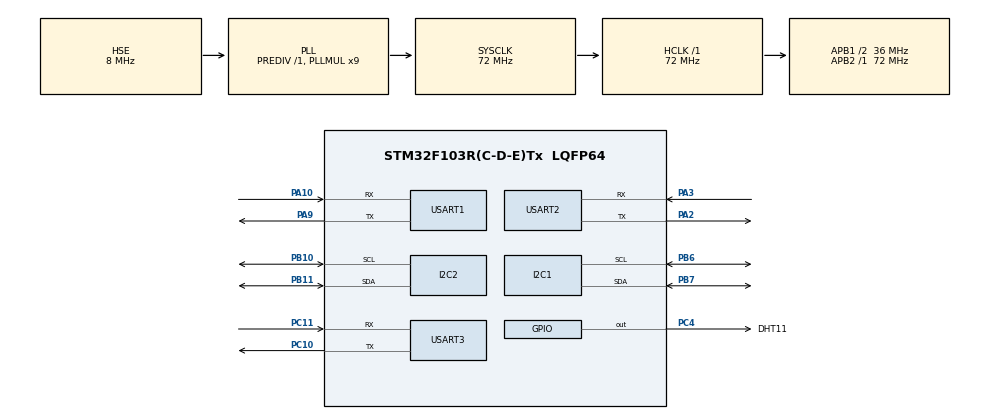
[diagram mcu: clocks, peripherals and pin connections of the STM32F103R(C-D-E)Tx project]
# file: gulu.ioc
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Mcu.Family=STM32F1
Mcu.Name=STM32F103R(C-D-E)Tx
Mcu.Package=LQFP64
NVIC.PriorityGroup=NVIC_PRIORITYGROUP_4
NVIC.USART1_IRQn=true\:0\:0\:false\:false\:true\:true\:true
NVIC.USART2_IRQn=true\:0\:0\:false\:false\:true\:true\:true
NVIC.USART3_IRQn=true\:0\:0\:false\:false\:true\:true\:true
PA10.Mode=Asynchronous
PA10.Signal=USART1_RX
PA13.Mode=Serial_Wire
PA13.Signal=SYS_JTMS-SWDIO
PA14.Mode=Serial_Wire
PA14.Signal=SYS_JTCK-SWCLK
PA2.Mode=Asynchronous
PA2.Signal=USART2_TX
PA3.Mode=Asynchronous
PA3.Signal=USART2_RX
PA9.Mode=Asynchronous
PA9.Signal=USART1_TX
PB10.GPIO_Pu=GPIO_PULLUP
PB10.Mode=I2C
PB10.Signal=I2C2_SCL
PB11.GPIO_Pu=GPIO_PULLUP
PB11.Mode=I2C
PB11.Signal=I2C2_SDA
PB6.GPIO_Pu=GPIO_PULLUP
PB6.Mode=I2C
PB6.Signal=I2C1_SCL
PB7.GPIO_Pu=GPIO_PULLUP
PB7.Mode=I2C
PB7.Signal=I2C1_SDA
PC10.Mode=Asynchronous
PC10.Signal=USART3_TX
PC11.Mode=Asynchronous
PC11.Signal=USART3_RX
PC4.GPIO_Label=DHT11
PC4.Signal=GPIO_Output
PD0-OSC_IN.Mode=HSE-External-Oscillator
PD0-OSC_IN.Signal=RCC_OSC_IN
PD1-OSC_OUT.Mode=HSE-External-Oscillator
PD1-OSC_OUT.Signal=RCC_OSC_OUT
ProjectManager.HeapSize=0x200
ProjectManager.StackSize=0x400
ProjectManager.TargetToolchain=MDK-ARM V5
RCC.AHBFreq_Value=72000000
RCC.APB1CLKDivider=RCC_HCLK_DIV2
RCC.APB1Freq_Value=36000000
RCC.APB1TimFreq_Value=72000000
RCC.APB2Freq_Value=72000000
RCC.APB2TimFreq_Value=72000000
RCC.HCLKFreq_Value=72000000
RCC.PLLMUL=RCC_PLL_MUL9
RCC.PLLSourceVirtual=RCC_PLLSOURCE_HSE
RCC.SYSCLKFreq_VALUE=72000000
RCC.SYSCLKSource=RCC_SYSCLKSOURCE_PLLCLK
RCC.USBFreq_Value=72000000
USART1.VirtualMode=VM_ASYNC
USART2.VirtualMode=VM_ASYNC
USART3.VirtualMode=VM_ASYNC
board=custom

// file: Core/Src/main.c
/* USER CODE BEGIN Header */
/**
  ******************************************************************************
  * @file           : main.c
  * @brief          : Main program body
  ******************************************************************************
  * @attention
  *
  * <h2><center>&copy; Copyright (c) 2021 STMicroelectronics.
  * All rights reserved.</center></h2>
  *
  * This software component is licensed by ST under BSD 3-Clause license,
  * the "License"; You may not use this file except in compliance with the
  * License. You may obtain a copy of the License at:
  *                        opensource.org/licenses/BSD-3-Clause
  *
  ******************************************************************************
  */
/* USER CODE END Header */
#include "main.h"
#include "i2c.h"
#include "usart.h"
#include "gpio.h"

/* USER CODE BEGIN Includes */
#include "DHT.h"
#include "stdio.h"
#include "string.h"
#include "jx_uart_send.h"
#include "oled.h"
/* USER CODE END Includes */

/* USER CODE BEGIN PV */
enum DemoStatus
{
    Colourful_Egg,Weather_Humidity,Time
};
enum DemoStatus status;

// DHT_DataTypedef DHT11_Data;

int Temperature=16, Humidity=0, WebTemperature=0;
int HH=0,MM=0;
int num=0;

uint8_t RxBuff[1];      //interrupt data buffer
uint8_t DataBuff[500]; //data receved
int RxLength=0;         //length of receved data
uint8_t Rx2Buff[1];      //interrupt data buffer
uint8_t Data2Buff[500]; //data receved
int Rx2Length=0;         //length of receved data
int flag = 0;
int quest = 0;
/* USER CODE END PV */

void SystemClock_Config(void);

int main(void)
{

  /* MCU Configuration--------------------------------------------------------*/

  /* Reset of all peripherals, Initializes the Flash interface and the Systick. */
  HAL_Init();

  /* Configure the system clock */
  SystemClock_Config();

  /* Initialize all configured peripherals */
  MX_GPIO_Init();
  MX_I2C1_Init();
  MX_I2C2_Init();
  MX_USART1_UART_Init();
  MX_USART2_UART_Init();
  MX_USART3_UART_Init();
  /* USER CODE BEGIN 2 */
	HAL_NVIC_SetPriority(SysTick_IRQn,0,0);
  // DHT_GetData(&DHT11_Data);
	// Temperature = (int)DHT11_Data.Temperature;
  HAL_UART_Receive_IT(&huart1, (uint8_t *)RxBuff, 1); //打开串口中断接收
  HAL_UART_Receive_IT(&huart2, (uint8_t *)Rx2Buff, 1); // only for esp receve
	HAL_UART_Receive_IT(&huart3, (uint8_t *)RxBuff, 1); //only for speech receve

  status = Time;

  OLED_Init();

	OLED_Display_On();

	OLED_Clear();
  //test
  //OLED_ShowNum(2,10,99,2,16);
	unsigned char hello[] = "hello Gulu";
	OLED_ShowString(20,10,hello,16);
  //printf("STM Starting\n");
  /* USER CODE END 2 */

  /* Infinite loop */
  /* USER CODE BEGIN WHILE */

  while (1)
  {
    switch (status)
    {
    case Colourful_Egg:
      if(num++==0)
        //tell esp
        {
          printf("$1");
        }
      break;
    case Weather_Humidity:
			//100 000
      num = (num++)%10000;
      if(num==1)
      {
        //tell esp
				//DHT_GetData(&DHT11_Data); // No decimal part,so turn to int
        printf("$2");

				//printf("send to esp for weather\n");
				//_uart_Weather(Temperature,WebTemperature);
        // printf("Temperature is: %d\n", Temperature);
        // printf("Humidity is: %d\n", Humidity);
      }
      break;
    case Time:
    //should be 10000
    num = (num++)%10000;
      if(num==1)
      {
        printf("$3");
				//just for test!!!,it's ok to send hex
				//_uart_Time(HH,MM);
				//printf("send to esp for time\n");
      }
      break;
    default:
      break;
    }

    if(quest==12){
      _uart_Weather(Temperature,WebTemperature);
      quest=0;
    }
    if(quest==13){
			_uart_Time(HH,MM);
      quest=0;
    }

    HAL_Delay(1);
    /* USER CODE END WHILE */

  }
}

void SystemClock_Config(void)
{
  RCC_OscInitTypeDef RCC_OscInitStruct = {0};
  RCC_ClkInitTypeDef RCC_ClkInitStruct = {0};

  /** Initializes the RCC Oscillators according to the specified parameters
  * in the RCC_OscInitTypeDef structure.
  */
  RCC_OscInitStruct.OscillatorType = RCC_OSCILLATORTYPE_HSE;
  RCC_OscInitStruct.HSEState = RCC_HSE_ON;
  RCC_OscInitStruct.HSEPredivValue = RCC_HSE_PREDIV_DIV1;
  RCC_OscInitStruct.HSIState = RCC_HSI_ON;
  RCC_OscInitStruct.PLL.PLLState = RCC_PLL_ON;
  RCC_OscInitStruct.PLL.PLLSource = RCC_PLLSOURCE_HSE;
  RCC_OscInitStruct.PLL.PLLMUL = RCC_PLL_MUL9;
  if (HAL_RCC_OscConfig(&RCC_OscInitStruct) != HAL_OK)
  {
    Error_Handler();
  }
  /** Initializes the CPU, AHB and APB buses clocks
  */
  RCC_ClkInitStruct.ClockType = RCC_CLOCKTYPE_HCLK|RCC_CLOCKTYPE_SYSCLK
                              |RCC_CLOCKTYPE_PCLK1|RCC_CLOCKTYPE_PCLK2;
  RCC_ClkInitStruct.SYSCLKSource = RCC_SYSCLKSOURCE_PLLCLK;
  RCC_ClkInitStruct.AHBCLKDivider = RCC_SYSCLK_DIV1;
  RCC_ClkInitStruct.APB1CLKDivider = RCC_HCLK_DIV2;
  RCC_ClkInitStruct.APB2CLKDivider = RCC_HCLK_DIV1;

  if (HAL_RCC_ClockConfig(&RCC_ClkInitStruct, FLASH_LATENCY_2) != HAL_OK)
  {
    Error_Handler();
  }
}

/* USER CODE BEGIN 4 */
void HAL_UART_RxCpltCallback(UART_HandleTypeDef*UartHandle)
{
    if(UartHandle->Instance == USART3)
    {
      //printf("RXLen=%d\r\n",RxLength);
      // for(int i=0;i<RxLength;i++)
      // printf("UART DataBuff[%d] = 0x%x\r\n",i,DataBuff[i]);
      // memset(DataBuff,0,sizeof(DataBuff));
      RxLength++;
      DataBuff[RxLength-1]=RxBuff[0];
      //When receved message(weather or time) from esp,then update
      //when ask for message, we will tell esp,then esp quest the web and return.
      if(RxBuff[0]==0X11)            //end
      {
        status = Colourful_Egg;
        num=0;
        printf("$1");
      }
      if(RxBuff[0]==0X12)            //end
      {
        quest=12;
        status = Weather_Humidity;
        num=0;
        printf("$2");
      }
      if(RxBuff[0]==0X13)            //end
      {
        quest=13;
        status = Time;
        num=0;
        printf("$3");
      }

      HAL_UART_Receive_IT(&huart3, (uint8_t *)RxBuff, 1); //每接收一个数据，就打开1次串口中断接收，否则只会接收1个数据就停止接收
    }

    if(UartHandle->Instance == USART2)
    {
      Rx2Length++;
      Data2Buff[Rx2Length-1]=Rx2Buff[0];
      if(Data2Buff[0]=='$')
      {
        flag = 1;
				//Rx2Length=1;
      }
      if(Rx2Buff[0]=='&')
      {
        flag = 0;
        //printf("RxLength==%d\n",RxLength);
        //Time
        if(Data2Buff[Rx2Length-4]==':'){

            HH = Data2Buff[Rx2Length-6]-'0';
            HH *=10;
            HH += Data2Buff[Rx2Length-5]-'0';
            MM = Data2Buff[Rx2Length-3]-'0';
            MM*=10;
            MM += Data2Buff[Rx2Length-2]-'0';
            //printf("receved esp Time %d:%d\n",HH,MM);
            UpdateOledTime(HH,MM);
        }
        //weather
        if(Data2Buff[Rx2Length-6]=='$'){
            WebTemperature = Data2Buff[Rx2Length-5]-'0';
            WebTemperature *=10;
            WebTemperature += Data2Buff[Rx2Length-4]-'0';
            Temperature = Data2Buff[Rx2Length-3]-'0';
            Temperature *=10;
            Temperature += Data2Buff[Rx2Length-2]-'0';
            printf("receved esp Temperature %d\n",WebTemperature);
            UpdateOledWeather(Temperature,WebTemperature);
        }
//          Rx2Length=0;
//          Rx2Buff[0]=0;
//          memset(Data2Buff,0,sizeof(Data2Buff));
      }
      if(flag==0)
      {
        Rx2Length=0;
        Rx2Buff[0]=0;
        memset(Data2Buff,0,sizeof(Data2Buff));
      }
      HAL_UART_Receive_IT(&huart2, (uint8_t *)Rx2Buff, 1);
    }

}
/* USER CODE END 4 */

void Error_Handler(void)
{
  __disable_irq();
  while (1)
  {
  }
}

/************************ (C) COPYRIGHT STMicroelectronics *****END OF FILE****/
